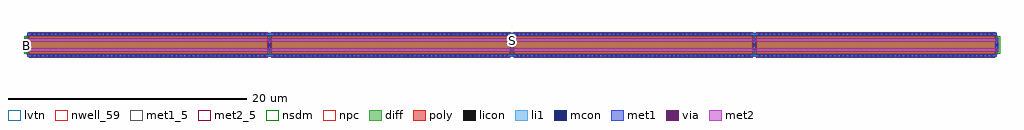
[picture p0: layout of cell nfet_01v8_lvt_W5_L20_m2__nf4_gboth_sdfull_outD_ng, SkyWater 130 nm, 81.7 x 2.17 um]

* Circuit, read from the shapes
.subckt nfet_01v8_lvt_W5_L20_m2__nf4_gboth_sdfull_outD_ng B D G S
XM1 S G D B sky130_fd_pr__nfet_01v8_lvt w=1.25 l=20 m=4
.ends

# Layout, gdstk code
import gdstk
lib = gdstk.Library(unit=1e-6, precision=1e-09)
def R(c, l, rs):  # rectangles x0, y0, x1, y1
    for r in rs: c.add(gdstk.rectangle(r[:2], r[2:], *l))
def A(c, l, x, y, w, h, nx, ny, dx, dy):  # array of equal rectangles
    R(c, l, [(x+i*dx, y+j*dy, x+i*dx+w, y+j*dy+h) for i in range(nx) for j in range(ny)])
nwell_59 = (64, 59)
diff = (65, 20)
poly = (66, 20)
licon = (66, 44)
li1 = (67, 20)
mcon = (67, 44)
met1_5 = (68, 5)
met1 = (68, 20)
via = (68, 44)
met2_5 = (69, 5)
met2 = (69, 20)
nsdm = (93, 44)
npc = (95, 20)
lvtn = (125, 44)

sky130_fd_pr__nfet_01v8_ = lib.new_cell('sky130_fd_pr__nfet_01v8_lvt_4FJ2VL')
R(sky130_fd_pr__nfet_01v8_, diff, [(-40.725,-0.625,40.725,0.625)])
A(sky130_fd_pr__nfet_01v8_, poly, -40.435, -1.065, 20, 2.13, 4, 1, 20.29, 0)
A(sky130_fd_pr__nfet_01v8_, licon, -40.21, -0.985, 0.17, 0.17, 58, 2, 0.34, 1.8)
A(sky130_fd_pr__nfet_01v8_, licon, -19.92, -0.985, 0.17, 0.17, 58, 2, 0.34, 1.8)
A(sky130_fd_pr__nfet_01v8_, licon, 0.37, -0.985, 0.17, 0.17, 58, 2, 0.34, 1.8)
A(sky130_fd_pr__nfet_01v8_, licon, 20.66, -0.985, 0.17, 0.17, 58, 2, 0.34, 1.8)
A(sky130_fd_pr__nfet_01v8_, licon, -40.665, -0.425, 0.17, 0.17, 5, 3, 20.29, 0.34)
A(sky130_fd_pr__nfet_01v8_, li1, -40.665, -0.645, 0.17, 1.29, 5, 1, 20.29, 0)
R(sky130_fd_pr__nfet_01v8_, li1, [(-40.58,-0.985,40.58,-0.815), (-40.58,0.815,40.58,0.985)])
A(sky130_fd_pr__nfet_01v8_, mcon, -40.24, -0.985, 0.17, 0.17, 55, 2, 0.36, 1.8)
A(sky130_fd_pr__nfet_01v8_, mcon, -19.95, -0.985, 0.17, 0.17, 55, 2, 0.36, 1.8)
A(sky130_fd_pr__nfet_01v8_, mcon, 0.34, -0.985, 0.17, 0.17, 55, 2, 0.36, 1.8)
A(sky130_fd_pr__nfet_01v8_, mcon, 20.63, -0.985, 0.17, 0.17, 55, 2, 0.36, 1.8)
A(sky130_fd_pr__nfet_01v8_, mcon, -40.665, -0.445, 0.17, 0.17, 5, 3, 20.29, 0.36)
A(sky130_fd_pr__nfet_01v8_, met1, -40.415, -1.015, 19.96, 0.03, 4, 2, 20.29, 0.2)
A(sky130_fd_pr__nfet_01v8_, met1, -40.695, -0.625, 0.23, 1.25, 5, 1, 20.29, 0)
A(sky130_fd_pr__nfet_01v8_, met1, -40.415, 0.785, 19.96, 0.03, 4, 2, 20.29, 0.2)
R(sky130_fd_pr__nfet_01v8_, met1, [(-40.58,-0.985,40.58,-0.815), (-40.58,0.815,40.58,0.985)])
R(sky130_fd_pr__nfet_01v8_, nsdm, [(-40.85,-0.75,40.85,0.75)])
A(sky130_fd_pr__nfet_01v8_, npc, -40.31, -1.085, 19.75, 0.37, 4, 2, 20.29, 1.8)
R(sky130_fd_pr__nfet_01v8_, lvtn, [(-40.615,-0.805,40.615,0.805)])
sky130_fd_pr__nfet_01v8_.add(gdstk.Label('D0', (-40.58,0), layer=67, texttype=5))
sky130_fd_pr__nfet_01v8_.add(gdstk.Label('G', (30.435,0.9), layer=67, texttype=5))
sky130_fd_pr__nfet_01v8_.add(gdstk.Label('G', (10.145,0.9), layer=67, texttype=5))
sky130_fd_pr__nfet_01v8_.add(gdstk.Label('G', (-10.145,0.9), layer=67, texttype=5))
sky130_fd_pr__nfet_01v8_.add(gdstk.Label('G', (-30.435,0.9), layer=67, texttype=5))
sky130_fd_pr__nfet_01v8_.add(gdstk.Label('S1', (-20.29,0), layer=67, texttype=5))
sky130_fd_pr__nfet_01v8_.add(gdstk.Label('D2', (0,0), layer=67, texttype=5))
sky130_fd_pr__nfet_01v8_.add(gdstk.Label('S3', (20.29,0), layer=67, texttype=5))

nfet_01v8_lvt_w5_l20_m2_ = lib.new_cell('nfet_01v8_lvt_W5_L20_m2__nf4_gboth_sdfull_outD_ng')
R(nfet_01v8_lvt_w5_l20_m2_, nwell_59, [(0.05,1.015,0.15,1.115)])
R(nfet_01v8_lvt_w5_l20_m2_, met1_5, [(0.145,1.85,81.305,2.08)])
A(nfet_01v8_lvt_w5_l20_m2_, met1, 0.015, 0.49, 0.26, 0.32, 3, 1, 40.58, 0)
R(nfet_01v8_lvt_w5_l20_m2_, met1, [(20.305,1.32,20.565,1.64), (60.885,1.32,61.145,1.64), (0.145,1.85,81.305,2.08)])
A(nfet_01v8_lvt_w5_l20_m2_, via, 0.07, 0.575, 0.15, 0.15, 3, 1, 40.58, 0)
R(nfet_01v8_lvt_w5_l20_m2_, via, [(20.36,1.405,20.51,1.555), (60.94,1.405,61.09,1.555)])
R(nfet_01v8_lvt_w5_l20_m2_, met2_5, [(0.01,0.49,81.44,0.81), (0.01,1.32,81.44,1.64)])
R(nfet_01v8_lvt_w5_l20_m2_, met2, [(0.01,0.49,81.44,0.81), (0.01,1.32,81.44,1.64)])
nfet_01v8_lvt_w5_l20_m2_.add(gdstk.Reference(sky130_fd_pr__nfet_01v8_, (40.725,1.065)))
nfet_01v8_lvt_w5_l20_m2_.add(gdstk.Label('S', (40.725,1.48), layer=69, texttype=5))
nfet_01v8_lvt_w5_l20_m2_.add(gdstk.Label('D', (40.725,0.65), layer=69, texttype=5))
nfet_01v8_lvt_w5_l20_m2_.add(gdstk.Label('G', (40.725,1.965), layer=68, texttype=5))
nfet_01v8_lvt_w5_l20_m2_.add(gdstk.Label('B', (0.1,1.065), layer=64, texttype=59))

lib.write_gds('nfet_01v8_lvt_W5_L20_m2__nf4_gboth_sdfull_outD_ng.gds')
